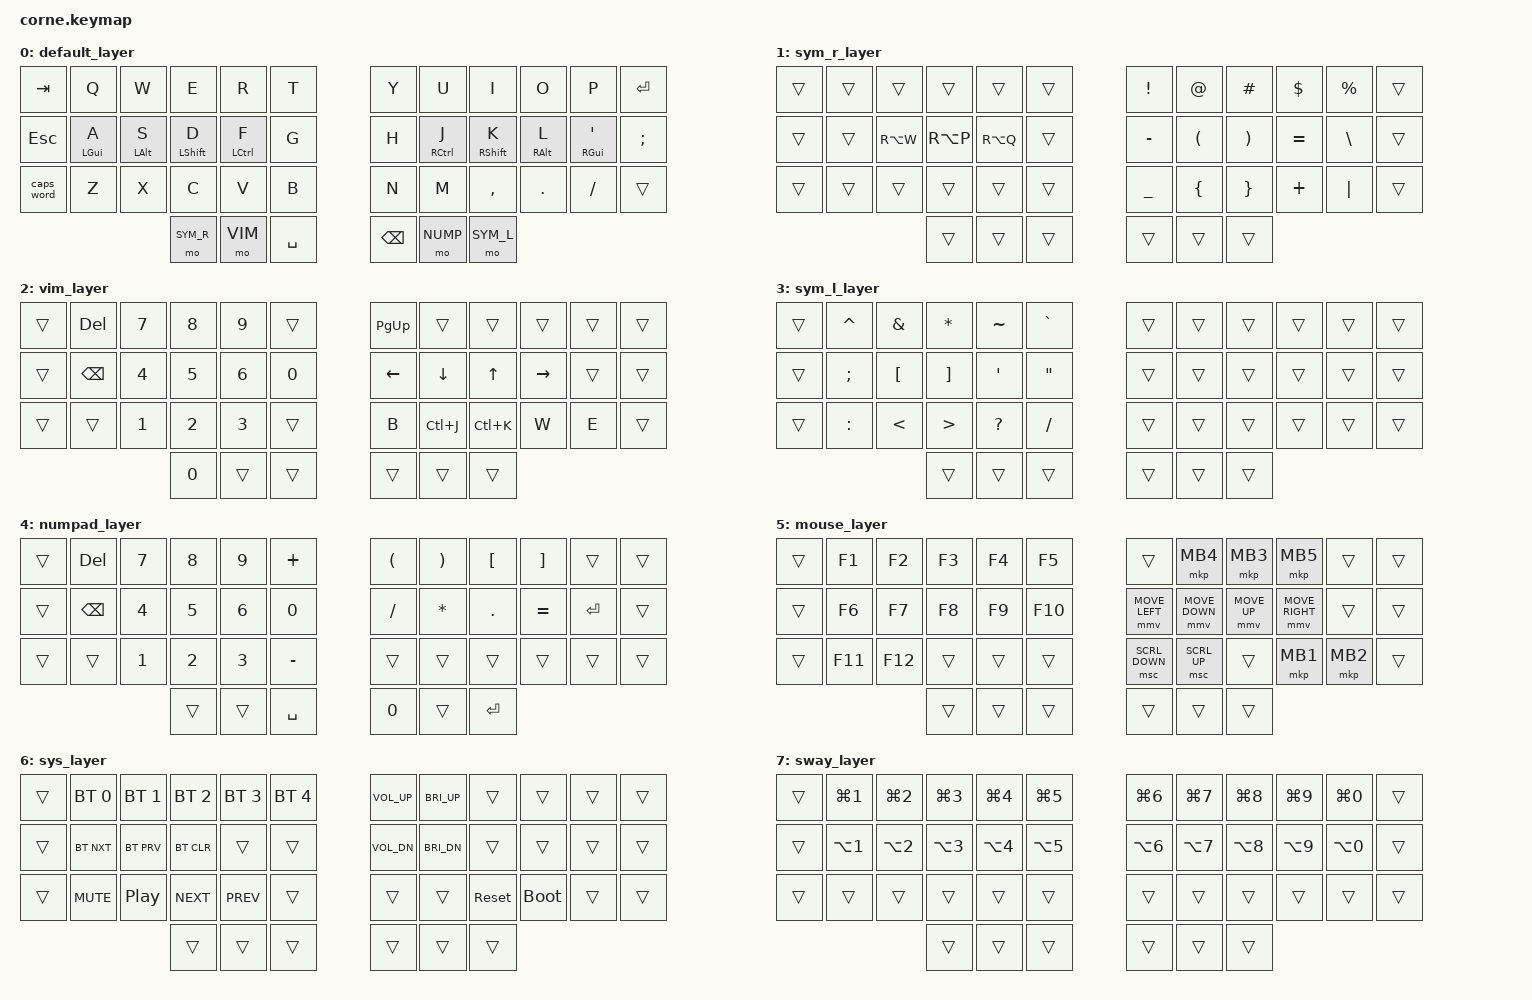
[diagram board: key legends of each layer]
/*
 * Corne v3 - Dvorak + Full HRM
 *
 * LAYER MAP:
 *   0  Base    - Dvorak + HRM
 *   1  SYM_R   - Symbols right / Swedish left  (left middle thumb)
 *   2  VIM     - Vim motions right / Numbers left (left inner thumb)
 *   3  SYM_L   - Symbols left  (right inner thumb)
 *   4  NUMP    - Numpad  (right middle thumb)
 *   5  MOUSE   - F-keys + mouse  (SYM_R + VIM)
 *   6  SYS     - BT / System  (SYM_L + NUMP)
 *   7  SWAY    - Sway / buffers  (VIM + NUMP)
 *
 * THUMB CLUSTER:
 *   [SYM_R] [VIM] [SPACE]    [BSPC] [NUMP] [SYM_L]
 *
 * COMBOS:
 *   SYM_R + SYM_L  -> one-shot shift
 *   VIM layer 1+2  -> (
 *   VIM layer 2+3  -> )
 *   VIM layer 4+5  -> [
 *   VIM layer 5+6  -> ]
 *   VIM layer 7+8  -> {
 *   VIM layer 8+9  -> }
 */

#include <behaviors.dtsi>
#include <dt-bindings/zmk/bt.h>
#include <dt-bindings/zmk/keys.h>
#include <dt-bindings/zmk/pointing.h>

#define BASE  0
#define SYM_R 1
#define VIM   2
#define SYM_L 3
#define NUMP  4
#define MOUSE 5
#define SYS   6
#define SWAY  7

#define HRM_TAPPING_TERM  200
#define HRM_IDLE          150
#define COMBO_TERM         40

/ {
    behaviors {
        hml: hrm_left {
            compatible = "zmk,behavior-hold-tap";
            #binding-cells = <2>;
            flavor = "balanced";
            tapping-term-ms = <HRM_TAPPING_TERM>;
            require-prior-idle-ms = <HRM_IDLE>;
            quick-tap-ms = <175>;
            hold-trigger-key-positions = <6 7 8 9 10 11 18 19 20 21 22 23 30 31 32 33 34 35 39 40 41>;
            hold-trigger-on-release;
            bindings = <&kp>, <&kp>;
        };

        hmr: hrm_right {
            compatible = "zmk,behavior-hold-tap";
            #binding-cells = <2>;
            flavor = "balanced";
            tapping-term-ms = <HRM_TAPPING_TERM>;
            require-prior-idle-ms = <HRM_IDLE>;
            quick-tap-ms = <175>;
            hold-trigger-key-positions = <0 1 2 3 4 5 12 13 14 15 16 17 24 25 26 27 28 29 36 37 38>;
            hold-trigger-on-release;
            bindings = <&kp>, <&kp>;
        };
    };

    combos {
        compatible = "zmk,combos";

        combo_osm_shift {
            timeout-ms = <COMBO_TERM>;
            key-positions = <36 41>;
            bindings = <&sk LSHIFT>;
        };
        combo_num_lparen {
            timeout-ms = <COMBO_TERM>;
            key-positions = <13 14>;
						layers = <VIM>;
            bindings = <&kp LPAR>;
        };
        combo_num_rparen {
            timeout-ms = <COMBO_TERM>;
            key-positions = <14 15>;
            layers = <VIM>;
            bindings = <&kp RPAR>;
        };
        combo_num_lbkt {
            timeout-ms = <COMBO_TERM>;
            key-positions = <25 26>;
            layers = <VIM>;
            bindings = <&kp LBKT>;
        };
        combo_num_rbkt {
            timeout-ms = <COMBO_TERM>;
            key-positions = <26 27>;
            layers = <VIM>;
            bindings = <&kp RBKT>;
        };
        combo_num_lbrc {
            timeout-ms = <COMBO_TERM>;
            key-positions = <1 2>;
            layers = <VIM>;
            bindings = <&kp LBRC>;
        };
        combo_num_rbrc {
            timeout-ms = <COMBO_TERM>;
            key-positions = <2 3>;
            layers = <VIM>;
            bindings = <&kp RBRC>;
        };
    };

    conditional_layers {
        compatible = "zmk,conditional-layers";

        tri_mouse {
            if-layers = <SYM_R VIM>;
            then-layer = <MOUSE>;
        };
        tri_sys {
            if-layers = <SYM_L NUMP>;
            then-layer = <SYS>;
        };
        tri_sway {
            if-layers = <VIM NUMP>;
            then-layer = <SWAY>;
        };
    };

    keymap {
        compatible = "zmk,keymap";

        /* 0: BASE - Dvorak + HRM
         * HRM: A=GUI  O=ALT  E=SFT  U=CTL  |  H=CTL  T=SFT  N=ALT  S=GUI
         * Left outer bottom:  CAPS_WORD
         * Right outer bottom: trans (reserved)
         *
         * TAB  '    ,    .    P    Y       F    G    C    R    L    ENT
         * ESC  GUI/A ALT/O SFT/E CTL/U I   D   CTL/H SFT/T ALT/N GUI/S ;
         * CAPS /    Q    J    K    X       B    M    W    V    Z    ---
         *           [SYM_R] [VIM] [SPC]  [BSP] [NUMP] [SYM_L]
         */
				 default_layer {
					 bindings = <
						 &kp TAB    &kp Q        &kp W        &kp E         &kp R         &kp T      &kp Y      &kp U         &kp I         &kp O        &kp P        &kp RET
						 &kp ESC    &hml LGUI A  &hml LALT S  &hml LSHIFT D &hml LCTRL F  &kp G      &kp H      &hmr RCTRL J  &hmr RSHIFT K &hmr RALT L  &hmr RGUI SQT &kp SEMI
						 &caps_word &kp Z        &kp X        &kp C         &kp V         &kp B      &kp N      &kp M         &kp COMMA     &kp DOT      &kp SLASH    &trans
						 &mo SYM_R    &mo VIM       &kp SPACE		&kp BSPC    &mo NUMP   &mo SYM_L
					 >;
				 };

        /* 1: SYM_R - Symbols right hand / Swedish left hand
         * Left:  trans  trans  RA(W)=A  RA(P)=O  RA(Q)=U  trans
         * Right: !  @  #  $  %  /  -  (  )  =  \  /  _  {  }  +  |
         */
        sym_r_layer {
            bindings = <
&trans  &trans      &trans      &trans      &trans      &trans     &kp EXCL   &kp AT    &kp HASH  &kp DLLR   &kp PRCNT  &trans
&trans  &trans      &kp RA(W)   &kp RA(P)   &kp RA(Q)   &trans     &kp MINUS  &kp LPAR  &kp RPAR  &kp EQUAL  &kp BSLH   &trans
&trans  &trans      &trans      &trans      &trans      &trans     &kp UNDER  &kp LBRC  &kp RBRC  &kp PLUS   &kp PIPE   &trans
                                &trans      &trans      &trans     &trans     &trans    &trans
            >;
        };

        /* 2: VIM - Vim motions right / Numbers left
         * Left numbers (row-based):
         *   Top:  - 7 8 9 -
         *   Home: 0 4 5 6 -
         *   Bot:  - 1 2 3 -
         * Right motions:
         *   Top:  PGUP - - - -
         *   Home: LEFT DOWN UP RIGHT -
         *   Bot:  B  C+D  C+U  W  E
         */
				 vim_layer {
					 bindings = <
					 &trans  &kp DEL   &kp N7  &kp N8  &kp N9  &trans     &kp PG_UP  &trans     &trans    &trans     &trans  &trans
					 &trans  &kp BSPC  &kp N4  &kp N5  &kp N6  &kp N0     &kp LEFT   &kp DOWN   &kp UP    &kp RIGHT  &trans  &trans
					 &trans  &trans    &kp N1  &kp N2  &kp N3  &trans     &kp B      &kp LC(J)  &kp LC(K) &kp W      &kp E   &trans
					 &kp N0  &trans  &trans     &trans     &trans     &trans
					 >;
				 };

        /* 3: SYM_L - Symbols left hand
         * Left:  ^  &  *  ~  `  /  ;  [  ]  '  "  :  <  >  ?
         * Right: transparent
         */
        sym_l_layer {
            bindings = <
&trans  &kp CARET  &kp AMPS  &kp ASTRK  &kp TILDE  &kp GRAVE  &trans  &trans  &trans  &trans  &trans  &trans
&trans  &kp SEMI   &kp LBKT  &kp RBKT   &kp SQT    &kp DQT    &trans  &trans  &trans  &trans  &trans  &trans
&trans  &kp COLON  &kp LT    &kp GT     &kp QMARK  &kp SLASH  &trans  &trans  &trans  &trans  &trans  &trans
                              &trans     &trans     &trans     &trans  &trans  &trans
            >;
        };

				/* 4: NUMP - Numpad
         * Activated by right middle thumb - so LEFT hand types numbers
         * Left:  DEL  7  8  9  +  /  4  5  6  -  /  BSP  1  2  3  *
         * Right: (  )  [  ]  /  /  .  0  =  RET  (symbols + confirm)
         * Thumb: trans / trans / .      0 / [held] / RET
         */
        numpad_layer {
            bindings = <
&trans  &kp DEL   &kp N7  &kp N8  &kp N9  &kp PLUS     &kp LPAR  &kp RPAR  &kp LBKT  &kp RBKT  &trans     &trans
&trans  &kp BSPC  &kp N4  &kp N5  &kp N6  &kp N0    &kp SLASH &kp ASTRK &kp DOT   &kp EQUAL &kp RET    &trans
&trans  &trans    &kp N1  &kp N2  &kp N3  &kp MINUS       &trans    &trans    &trans    &trans    &trans     &trans
                           &trans  &trans  &kp SPACE    &kp N0    &trans    &kp RET
            >;
        };

        /* 5: MOUSE - F-keys left / Mouse right (SYM_R + VIM)
         * Left:  F1-F12
         * Right: mouse move UDLR / scroll / MB1-MB5
         */
        mouse_layer {
            bindings = <
&trans  &kp F1   &kp F2   &kp F3  &kp F4  &kp F5     &trans          &mkp MB4        &mkp MB3      &mkp MB5         &trans    &trans
&trans  &kp F6   &kp F7   &kp F8  &kp F9  &kp F10    &mmv MOVE_LEFT  &mmv MOVE_DOWN  &mmv MOVE_UP  &mmv MOVE_RIGHT  &trans    &trans
&trans  &kp F11  &kp F12  &trans  &trans  &trans     &msc SCRL_DOWN  &msc SCRL_UP    &trans        &mkp MB1         &mkp MB2  &trans
                           &trans  &trans  &trans     &trans          &trans          &trans
            >;
        };

        /* 6: SYS - Bluetooth / System (SYM_L + NUMP)
         * Left:  BT select 0-4 / BT next,prev,clear / mute,play,next,prev
         * Right: vol up/dn / bri up/dn / sys_reset / bootloader
         */
        sys_layer {
            bindings = <
&trans  &bt BT_SEL 0  &bt BT_SEL 1  &bt BT_SEL 2  &bt BT_SEL 3  &bt BT_SEL 4   &kp C_VOL_UP  &kp C_BRI_UP  &trans      &trans       &trans  &trans
&trans  &bt BT_NXT    &bt BT_PRV    &bt BT_CLR    &trans        &trans         &kp C_VOL_DN  &kp C_BRI_DN  &trans      &trans       &trans  &trans
&trans  &kp C_MUTE    &kp C_PP      &kp C_NEXT    &kp C_PREV    &trans         &trans        &trans        &sys_reset  &bootloader  &trans  &trans
                                    &trans        &trans        &trans         &trans        &trans        &trans
            >;
        };

        /* 7: SWAY - Sway WM + buffer switching (VIM + NUMP)
         * Left home:  Super+1 through Super+5 (Sway workspaces)
         * Right home: Alt+6 through Alt+0 (buffer/tab switching)
         * Change LG() to LC() if your Sway MOD is Ctrl.
         */
        sway_layer {
            bindings = <
&trans  &kp LG(N1)      &kp LG(N2)      &kp LG(N3)      &kp LG(N4)      &kp LG(N5)         &kp LG(N6)      &kp LG(N7)      &kp LG(N8)      &kp LG(N9)      &kp LG(N0)      &trans
&trans  &kp LA(N1)  &kp LA(N2)  &kp LA(N3)  &kp LA(N4)  &kp LA(N5)     &kp LA(N6)  &kp LA(N7)  &kp LA(N8)  &kp LA(N9)  &kp LA(N0)  &trans
&trans  &trans      &trans      &trans      &trans      &trans         &trans      &trans      &trans      &trans      &trans      &trans
                                &trans      &trans      &trans         &trans      &trans      &trans
            >;
        };
    };
};
